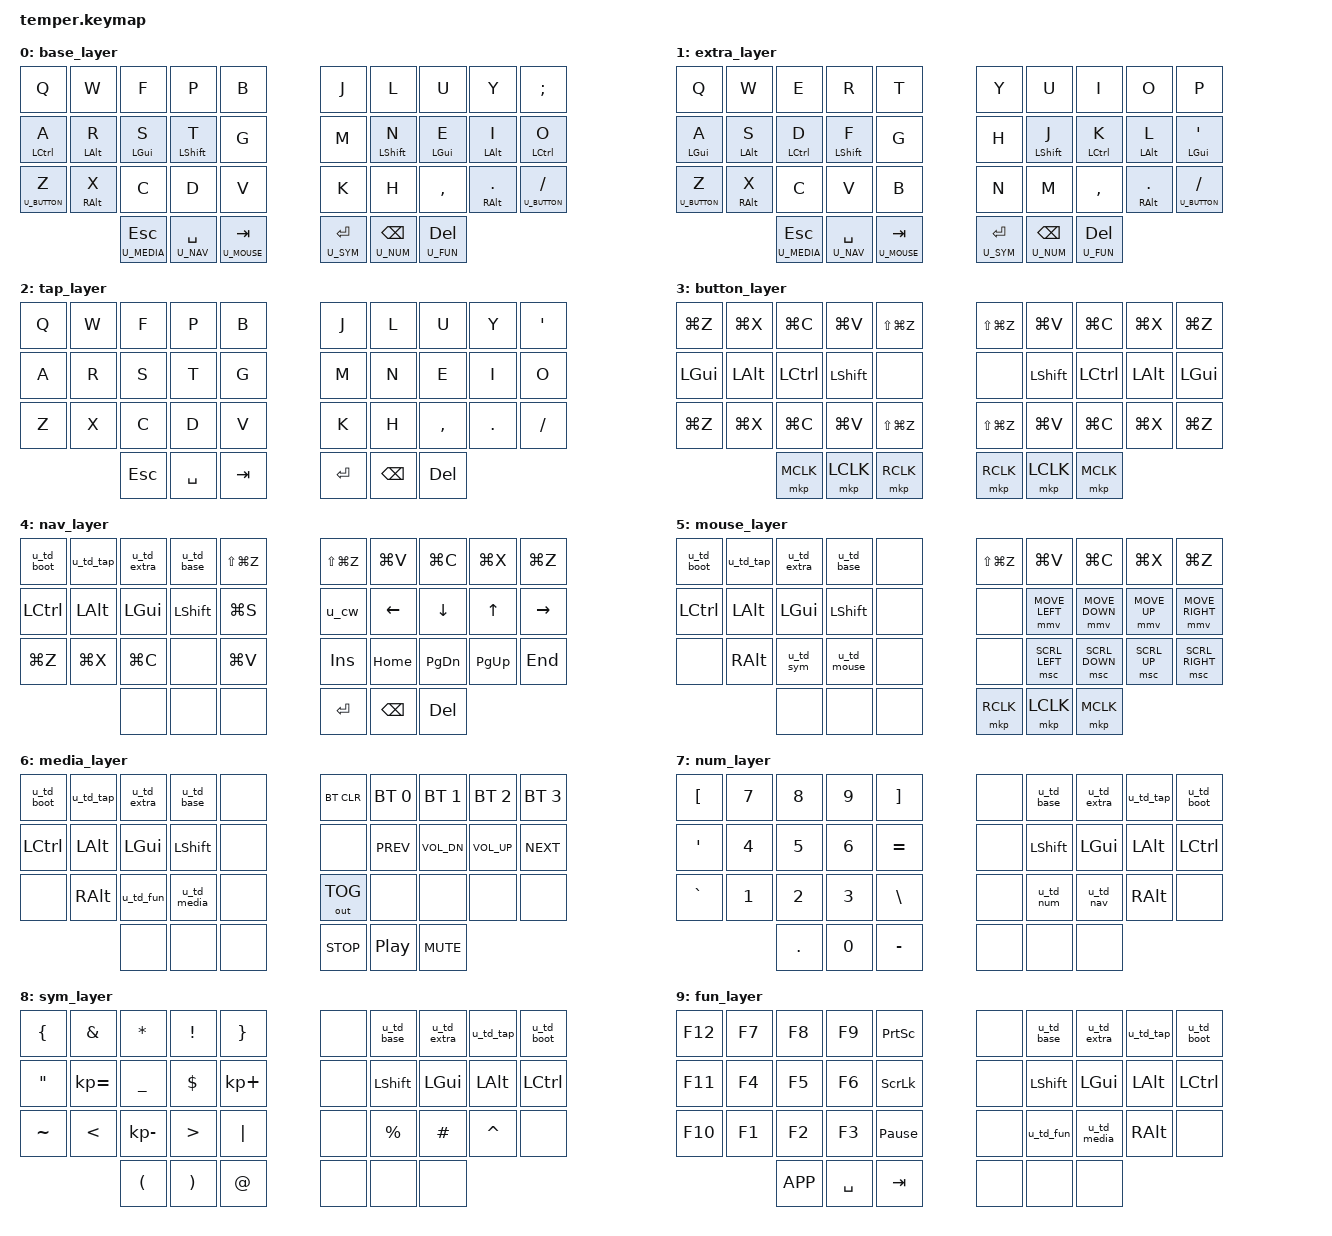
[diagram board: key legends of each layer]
/*
 * Copyright (c) 2020 The ZMK Contributors
 *
 * SPDX-License-Identifier: MIT
 */

// Miryoku layout (https://github.com/manna-harbour/miryoku), ported from the
// QMK build in users/manna-harbour_miryoku with these local customisations:
//   - Base alphas: Colemak-DH, ';' on the top right pinky
//   - Home row mods: Ctrl / Alt / Gui / Shift (inner-to-outer), AltGr on X and .
//   - Clipboard: MIRYOKU_CLIPBOARD=MAC
//   - Nav / Num / Sym / Fun tweaked per custom_config.h
//   - Tapping term 175ms

#include <behaviors.dtsi>
#include <dt-bindings/zmk/keys.h>
#include <dt-bindings/zmk/bt.h>
#include <dt-bindings/zmk/outputs.h>
#include <dt-bindings/zmk/pointing.h>

#define U_BASE   0
#define U_EXTRA  1
#define U_TAP    2
#define U_BUTTON 3
#define U_NAV    4
#define U_MOUSE  5
#define U_MEDIA  6
#define U_NUM    7
#define U_SYM    8
#define U_FUN    9

#define U_TAPPING_TERM 175

// Clipboard (MIRYOKU_CLIPBOARD=MAC)
#define U_RDO &kp LS(LG(Z))
#define U_PST &kp LG(V)
#define U_CPY &kp LG(C)
#define U_CUT &kp LG(X)
#define U_UND &kp LG(Z)

// U_NA: present but not available for use.  U_NU: available but not used.
#define U_NA &none
#define U_NU &none

// QMK has no PERMISSIVE_HOLD / HOLD_ON_OTHER_KEY_PRESS here, so a mod-tap or
// layer-tap only resolves as a hold once the tapping term expires. That is
// ZMK's "tap-preferred" flavor.
&mt {
    flavor = "tap-preferred";
    tapping-term-ms = <U_TAPPING_TERM>;
};

&lt {
    flavor = "tap-preferred";
    tapping-term-ms = <U_TAPPING_TERM>;
};

/ {
    behaviors {
        // Shift + caps word = caps lock (QMK capsword_key_override).
        u_cw: caps_word_or_caps_lock {
            compatible = "zmk,behavior-mod-morph";
            #binding-cells = <0>;
            bindings = <&caps_word>, <&kp CAPS>;
            mods = <(MOD_LSFT|MOD_RSFT)>;
        };

        // Additional features double tap guard: single tap does nothing,
        // double tap performs the action (QMK tap dance u_td_fn_*).
        u_td_boot: tap_dance_boot {
            compatible = "zmk,behavior-tap-dance";
            #binding-cells = <0>;
            tapping-term-ms = <U_TAPPING_TERM>;
            bindings = <&none>, <&bootloader>;
        };
        u_td_base: tap_dance_base {
            compatible = "zmk,behavior-tap-dance";
            #binding-cells = <0>;
            tapping-term-ms = <U_TAPPING_TERM>;
            bindings = <&none>, <&to U_BASE>;
        };
        u_td_extra: tap_dance_extra {
            compatible = "zmk,behavior-tap-dance";
            #binding-cells = <0>;
            tapping-term-ms = <U_TAPPING_TERM>;
            bindings = <&none>, <&to U_EXTRA>;
        };
        u_td_tap: tap_dance_tap {
            compatible = "zmk,behavior-tap-dance";
            #binding-cells = <0>;
            tapping-term-ms = <U_TAPPING_TERM>;
            bindings = <&none>, <&to U_TAP>;
        };
        u_td_nav: tap_dance_nav {
            compatible = "zmk,behavior-tap-dance";
            #binding-cells = <0>;
            tapping-term-ms = <U_TAPPING_TERM>;
            bindings = <&none>, <&to U_NAV>;
        };
        u_td_mouse: tap_dance_mouse {
            compatible = "zmk,behavior-tap-dance";
            #binding-cells = <0>;
            tapping-term-ms = <U_TAPPING_TERM>;
            bindings = <&none>, <&to U_MOUSE>;
        };
        u_td_media: tap_dance_media {
            compatible = "zmk,behavior-tap-dance";
            #binding-cells = <0>;
            tapping-term-ms = <U_TAPPING_TERM>;
            bindings = <&none>, <&to U_MEDIA>;
        };
        u_td_num: tap_dance_num {
            compatible = "zmk,behavior-tap-dance";
            #binding-cells = <0>;
            tapping-term-ms = <U_TAPPING_TERM>;
            bindings = <&none>, <&to U_NUM>;
        };
        u_td_sym: tap_dance_sym {
            compatible = "zmk,behavior-tap-dance";
            #binding-cells = <0>;
            tapping-term-ms = <U_TAPPING_TERM>;
            bindings = <&none>, <&to U_SYM>;
        };
        u_td_fun: tap_dance_fun {
            compatible = "zmk,behavior-tap-dance";
            #binding-cells = <0>;
            tapping-term-ms = <U_TAPPING_TERM>;
            bindings = <&none>, <&to U_FUN>;
        };
    };

    keymap {
        compatible = "zmk,keymap";

        base_layer {
            bindings = <
// ╭─────────────┬─────────────┬─────────────┬─────────────┬─────────────╮   ╭─────────────┬─────────────┬─────────────┬─────────────┬─────────────╮
      &kp Q         &kp W         &kp F         &kp P         &kp B             &kp J         &kp L         &kp U         &kp Y        &kp SEMI
// ├─────────────┼─────────────┼─────────────┼─────────────┼─────────────┤   ├─────────────┼─────────────┼─────────────┼─────────────┼─────────────┤
   &mt LCTRL A   &mt LALT R    &mt LGUI S    &mt LSHFT T      &kp G             &kp M      &mt LSHFT N   &mt LGUI E    &mt LALT I   &mt LCTRL O
// ├─────────────┼─────────────┼─────────────┼─────────────┼─────────────┤   ├─────────────┼─────────────┼─────────────┼─────────────┼─────────────┤
 &lt U_BUTTON Z  &mt RALT X       &kp C         &kp D         &kp V             &kp K         &kp H      &kp COMMA    &mt RALT DOT &lt U_BUTTON FSLH
// ╰─────────────┴─────────────┼─────────────┼─────────────┼─────────────┤   ├─────────────┼─────────────┼─────────────┼─────────────┴─────────────╯
                              &lt U_MEDIA ESC &lt U_NAV SPACE &lt U_MOUSE TAB  &lt U_SYM RET &lt U_NUM BSPC &lt U_FUN DEL
//                             ╰─────────────┴─────────────┴─────────────╯   ╰─────────────┴─────────────┴─────────────╯
            >;
        };

        extra_layer {
            bindings = <
// ╭─────────────┬─────────────┬─────────────┬─────────────┬─────────────╮   ╭─────────────┬─────────────┬─────────────┬─────────────┬─────────────╮
      &kp Q         &kp W         &kp E         &kp R         &kp T             &kp Y         &kp U         &kp I         &kp O         &kp P
// ├─────────────┼─────────────┼─────────────┼─────────────┼─────────────┤   ├─────────────┼─────────────┼─────────────┼─────────────┼─────────────┤
    &mt LGUI A   &mt LALT S    &mt LCTRL D   &mt LSHFT F      &kp G             &kp H      &mt LSHFT J   &mt LCTRL K   &mt LALT L   &mt LGUI SQT
// ├─────────────┼─────────────┼─────────────┼─────────────┼─────────────┤   ├─────────────┼─────────────┼─────────────┼─────────────┼─────────────┤
 &lt U_BUTTON Z  &mt RALT X       &kp C         &kp V         &kp B             &kp N         &kp M      &kp COMMA    &mt RALT DOT &lt U_BUTTON FSLH
// ╰─────────────┴─────────────┼─────────────┼─────────────┼─────────────┤   ├─────────────┼─────────────┼─────────────┼─────────────┴─────────────╯
                              &lt U_MEDIA ESC &lt U_NAV SPACE &lt U_MOUSE TAB  &lt U_SYM RET &lt U_NUM BSPC &lt U_FUN DEL
//                             ╰─────────────┴─────────────┴─────────────╯   ╰─────────────┴─────────────┴─────────────╯
            >;
        };

        tap_layer {
            bindings = <
// ╭─────────────┬─────────────┬─────────────┬─────────────┬─────────────╮   ╭─────────────┬─────────────┬─────────────┬─────────────┬─────────────╮
      &kp Q         &kp W         &kp F         &kp P         &kp B             &kp J         &kp L         &kp U         &kp Y        &kp SQT
// ├─────────────┼─────────────┼─────────────┼─────────────┼─────────────┤   ├─────────────┼─────────────┼─────────────┼─────────────┼─────────────┤
      &kp A         &kp R         &kp S         &kp T         &kp G             &kp M         &kp N         &kp E         &kp I         &kp O
// ├─────────────┼─────────────┼─────────────┼─────────────┼─────────────┤   ├─────────────┼─────────────┼─────────────┼─────────────┼─────────────┤
      &kp Z         &kp X         &kp C         &kp D         &kp V             &kp K         &kp H       &kp COMMA      &kp DOT      &kp FSLH
// ╰─────────────┴─────────────┼─────────────┼─────────────┼─────────────┤   ├─────────────┼─────────────┼─────────────┼─────────────┴─────────────╯
                                   &kp ESC     &kp SPACE      &kp TAB           &kp RET      &kp BSPC       &kp DEL
//                             ╰─────────────┴─────────────┴─────────────╯   ╰─────────────┴─────────────┴─────────────╯
            >;
        };

        button_layer {
            bindings = <
// ╭─────────────┬─────────────┬─────────────┬─────────────┬─────────────╮   ╭─────────────┬─────────────┬─────────────┬─────────────┬─────────────╮
      U_UND         U_CUT         U_CPY         U_PST         U_RDO             U_RDO         U_PST         U_CPY         U_CUT         U_UND
// ├─────────────┼─────────────┼─────────────┼─────────────┼─────────────┤   ├─────────────┼─────────────┼─────────────┼─────────────┼─────────────┤
    &kp LGUI      &kp LALT      &kp LCTRL     &kp LSHFT        U_NU              U_NU        &kp LSHFT     &kp LCTRL     &kp LALT      &kp LGUI
// ├─────────────┼─────────────┼─────────────┼─────────────┼─────────────┤   ├─────────────┼─────────────┼─────────────┼─────────────┼─────────────┤
      U_UND         U_CUT         U_CPY         U_PST         U_RDO             U_RDO         U_PST         U_CPY         U_CUT         U_UND
// ╰─────────────┴─────────────┼─────────────┼─────────────┼─────────────┤   ├─────────────┼─────────────┼─────────────┼─────────────┴─────────────╯
                                 &mkp MCLK     &mkp LCLK     &mkp RCLK         &mkp RCLK     &mkp LCLK     &mkp MCLK
//                             ╰─────────────┴─────────────┴─────────────╯   ╰─────────────┴─────────────┴─────────────╯
            >;
        };

        nav_layer {
            bindings = <
// ╭─────────────┬─────────────┬─────────────┬─────────────┬─────────────╮   ╭─────────────┬─────────────┬─────────────┬─────────────┬─────────────╮
    &u_td_boot    &u_td_tap    &u_td_extra   &u_td_base       U_RDO             U_RDO         U_PST         U_CPY         U_CUT         U_UND
// ├─────────────┼─────────────┼─────────────┼─────────────┼─────────────┤   ├─────────────┼─────────────┼─────────────┼─────────────┼─────────────┤
    &kp LCTRL     &kp LALT      &kp LGUI     &kp LSHFT      &kp LG(S)           &u_cw       &kp LEFT      &kp DOWN       &kp UP      &kp RIGHT
// ├─────────────┼─────────────┼─────────────┼─────────────┼─────────────┤   ├─────────────┼─────────────┼─────────────┼─────────────┼─────────────┤
      U_UND         U_CUT         U_CPY         U_NA          U_PST            &kp INS      &kp HOME     &kp PG_DN     &kp PG_UP      &kp END
// ╰─────────────┴─────────────┼─────────────┼─────────────┼─────────────┤   ├─────────────┼─────────────┼─────────────┼─────────────┴─────────────╯
                                   U_NA          U_NA          U_NA             &kp RET      &kp BSPC       &kp DEL
//                             ╰─────────────┴─────────────┴─────────────╯   ╰─────────────┴─────────────┴─────────────╯
            >;
        };

        mouse_layer {
            bindings = <
// ╭─────────────┬─────────────┬─────────────┬─────────────┬─────────────╮   ╭─────────────┬─────────────┬─────────────┬─────────────┬─────────────╮
    &u_td_boot    &u_td_tap    &u_td_extra   &u_td_base        U_NA             U_RDO         U_PST         U_CPY         U_CUT         U_UND
// ├─────────────┼─────────────┼─────────────┼─────────────┼─────────────┤   ├─────────────┼─────────────┼─────────────┼─────────────┼─────────────┤
    &kp LCTRL     &kp LALT      &kp LGUI     &kp LSHFT         U_NA              U_NU     &mmv MOVE_LEFT &mmv MOVE_DOWN &mmv MOVE_UP &mmv MOVE_RIGHT
// ├─────────────┼─────────────┼─────────────┼─────────────┼─────────────┤   ├─────────────┼─────────────┼─────────────┼─────────────┼─────────────┤
       U_NA       &kp RALT      &u_td_sym    &u_td_mouse       U_NA              U_NU     &msc SCRL_LEFT &msc SCRL_DOWN &msc SCRL_UP &msc SCRL_RIGHT
// ╰─────────────┴─────────────┼─────────────┼─────────────┼─────────────┤   ├─────────────┼─────────────┼─────────────┼─────────────┴─────────────╯
                                   U_NA          U_NA          U_NA            &mkp RCLK     &mkp LCLK     &mkp MCLK
//                             ╰─────────────┴─────────────┴─────────────╯   ╰─────────────┴─────────────┴─────────────╯
            >;
        };

        media_layer {
            bindings = <
// ╭─────────────┬─────────────┬─────────────┬─────────────┬─────────────╮   ╭─────────────┬─────────────┬─────────────┬─────────────┬─────────────╮
    &u_td_boot    &u_td_tap    &u_td_extra   &u_td_base        U_NA          &bt BT_CLR   &bt BT_SEL 0  &bt BT_SEL 1  &bt BT_SEL 2  &bt BT_SEL 3
// ├─────────────┼─────────────┼─────────────┼─────────────┼─────────────┤   ├─────────────┼─────────────┼─────────────┼─────────────┼─────────────┤
    &kp LCTRL     &kp LALT      &kp LGUI     &kp LSHFT         U_NA              U_NU      &kp C_PREV   &kp C_VOL_DN  &kp C_VOL_UP   &kp C_NEXT
// ├─────────────┼─────────────┼─────────────┼─────────────┼─────────────┤   ├─────────────┼─────────────┼─────────────┼─────────────┼─────────────┤
       U_NA       &kp RALT      &u_td_fun    &u_td_media       U_NA         &out OUT_TOG       U_NU          U_NU          U_NU          U_NU
// ╰─────────────┴─────────────┼─────────────┼─────────────┼─────────────┤   ├─────────────┼─────────────┼─────────────┼─────────────┴─────────────╯
                                   U_NA          U_NA          U_NA           &kp C_STOP     &kp C_PP     &kp C_MUTE
//                             ╰─────────────┴─────────────┴─────────────╯   ╰─────────────┴─────────────┴─────────────╯
            >;
        };

        num_layer {
            bindings = <
// ╭─────────────┬─────────────┬─────────────┬─────────────┬─────────────╮   ╭─────────────┬─────────────┬─────────────┬─────────────┬─────────────╮
     &kp LBKT      &kp N7        &kp N8        &kp N9       &kp RBKT            U_NA        &u_td_base   &u_td_extra    &u_td_tap    &u_td_boot
// ├─────────────┼─────────────┼─────────────┼─────────────┼─────────────┤   ├─────────────┼─────────────┼─────────────┼─────────────┼─────────────┤
     &kp SQT       &kp N4        &kp N5        &kp N6       &kp EQUAL           U_NA         &kp LSHFT     &kp LGUI      &kp LALT     &kp LCTRL
// ├─────────────┼─────────────┼─────────────┼─────────────┼─────────────┤   ├─────────────┼─────────────┼─────────────┼─────────────┼─────────────┤
    &kp GRAVE      &kp N1        &kp N2        &kp N3       &kp BSLH            U_NA         &u_td_num    &u_td_nav      &kp RALT        U_NA
// ╰─────────────┴─────────────┼─────────────┼─────────────┼─────────────┤   ├─────────────┼─────────────┼─────────────┼─────────────┴─────────────╯
                                   &kp DOT       &kp N0     &kp MINUS           U_NA          U_NA          U_NA
//                             ╰─────────────┴─────────────┴─────────────╯   ╰─────────────┴─────────────┴─────────────╯
            >;
        };

        sym_layer {
            bindings = <
// ╭─────────────┬─────────────┬─────────────┬─────────────┬─────────────╮   ╭─────────────┬─────────────┬─────────────┬─────────────┬─────────────╮
     &kp LBRC     &kp AMPS      &kp ASTRK     &kp EXCL      &kp RBRC            U_NA        &u_td_base   &u_td_extra    &u_td_tap    &u_td_boot
// ├─────────────┼─────────────┼─────────────┼─────────────┼─────────────┤   ├─────────────┼─────────────┼─────────────┼─────────────┼─────────────┤
     &kp DQT    &kp KP_EQUAL   &kp UNDER      &kp DLLR    &kp KP_PLUS           U_NA         &kp LSHFT     &kp LGUI      &kp LALT     &kp LCTRL
// ├─────────────┼─────────────┼─────────────┼─────────────┼─────────────┤   ├─────────────┼─────────────┼─────────────┼─────────────┼─────────────┤
    &kp TILDE      &kp LT     &kp KP_MINUS     &kp GT       &kp PIPE            U_NA        &kp PRCNT     &kp HASH      &kp CARET       U_NA
// ╰─────────────┴─────────────┼─────────────┼─────────────┼─────────────┤   ├─────────────┼─────────────┼─────────────┼─────────────┴─────────────╯
                                  &kp LPAR      &kp RPAR      &kp AT            U_NA          U_NA          U_NA
//                             ╰─────────────┴─────────────┴─────────────╯   ╰─────────────┴─────────────┴─────────────╯
            >;
        };

        fun_layer {
            bindings = <
// ╭─────────────┬─────────────┬─────────────┬─────────────┬─────────────╮   ╭─────────────┬─────────────┬─────────────┬─────────────┬─────────────╮
     &kp F12       &kp F7        &kp F8        &kp F9      &kp PSCRN            U_NA        &u_td_base   &u_td_extra    &u_td_tap    &u_td_boot
// ├─────────────┼─────────────┼─────────────┼─────────────┼─────────────┤   ├─────────────┼─────────────┼─────────────┼─────────────┼─────────────┤
     &kp F11       &kp F4        &kp F5        &kp F6       &kp SLCK            U_NA         &kp LSHFT     &kp LGUI      &kp LALT     &kp LCTRL
// ├─────────────┼─────────────┼─────────────┼─────────────┼─────────────┤   ├─────────────┼─────────────┼─────────────┼─────────────┼─────────────┤
     &kp F10       &kp F1        &kp F2        &kp F3   &kp PAUSE_BREAK         U_NA         &u_td_fun    &u_td_media    &kp RALT        U_NA
// ╰─────────────┴─────────────┼─────────────┼─────────────┼─────────────┤   ├─────────────┼─────────────┼─────────────┼─────────────┴─────────────╯
                                 &kp K_APP     &kp SPACE      &kp TAB           U_NA          U_NA          U_NA
//                             ╰─────────────┴─────────────┴─────────────╯   ╰─────────────┴─────────────┴─────────────╯
            >;
        };
    };
};
